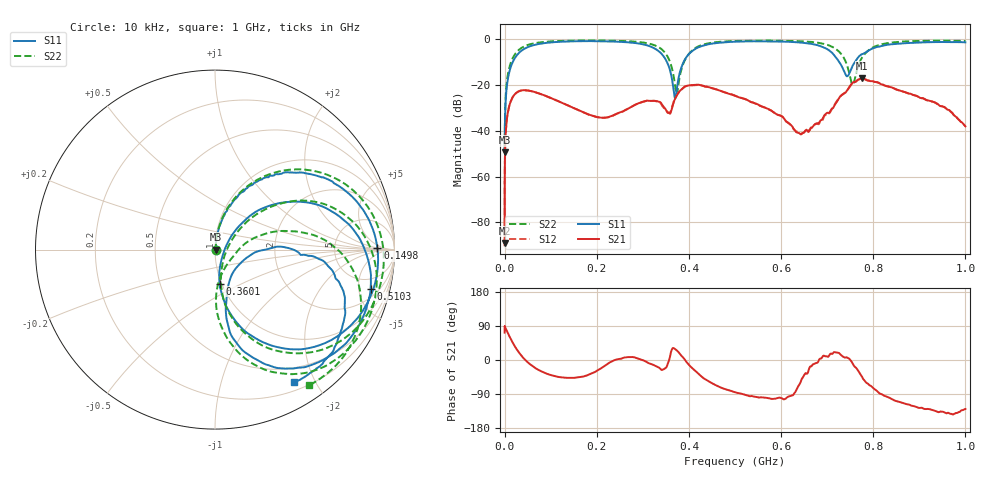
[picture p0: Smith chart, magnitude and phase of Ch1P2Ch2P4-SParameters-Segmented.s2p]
#  HZ  S  DB  R  50.00
! Rohde & Schwarz Vector Network Analyzer
! Rohde-Schwarz,ZNL6-2Port,1323001206101709,1.40.1.1-21.04.2.40
! Created: UTC 3/14/2023, 9:51:05 AM
! freq[Hz]  db:S11  ang:S11  db:S21  ang:S21  db:S12  ang:S12  db:S22  ang:S22
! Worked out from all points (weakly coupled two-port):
!   4997 points, 10 kHz to 1 GHz, reference 50 ohm
!   highest |S21| = -16.98 dB at 776 MHz (marker M1); lowest = -89.0 dB at 10.9 kHz (marker M2)
!   lowest |S11| = -49.3 dB at 10 kHz (marker M3), VSWR 1.01, Z = 50.3 + j0.0451 ohm
!   |S11| at or under -10 dB: start of sweep to 17.42 MHz; 352.6 MHz to 388.2 MHz (35.64 MHz wide, 9.62 % of centre); 726.3 MHz to 760.1 MHz (33.73 MHz wide, 4.54 % of centre)
!   |S22| runs from -48.8 to -0.5 dB; largest |S21 - S12| = 0.0034
!   S11 on the Smith chart (normalised r, x): 10 kHz: 1.01, +0.00; 149.8 MHz: 20, +2; 360.1 MHz: 0.98, -0.39; 510.3 MHz: 3.00, -6.66; 1 GHz: 0.31, -1.72
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10000  -49.28 7.5  -88.48 72.3  -90.34 81.4  -48.82 4.3
10900  -49.14 5.3  -89.00 80.7  -89.65 88.1  -48.74 4.4
101000  -47.69 29.7  -68.91 87.9  -68.32 89.1  -47.01 34.5
1010000  -33.95 77.8  -48.42 86.7  -48.49 86.3  -31.95 79.3
8511802  -15.80 77.4  -30.43 67.3  -30.43 66.8  -13.84 75.5
1.830582e7  -9.62 66.7  -25.01 44.2  -25.00 44.0  -7.91 62.5
6.831784e7  -2.28 27.9  -23.23 -22.5  -23.20 -24.4  -1.59 23.8
1.497957e8  -0.87 0.5  -30.02 -47.2  -30.01 -48.4  -0.55 -0.4
1.668832e8  -0.81 -3.7  -31.48 -44.5  -31.47 -45.7  -0.51 -4.1
3.333815e8  -5.02 -64.1  -27.18 -19.0  -27.25 -21.1  -3.34 -56.8
3.600546e8  -14.35 -82.4  -32.19 16.5  -31.68 17.2  -10.52 -79.9
3.738079e8  -21.54 30.0  -24.50 25.2  -24.37 23.1  -24.10 -11.9
4.090247e8  -4.85 27.4  -19.95 -23.5  -20.05 -24.9  -4.52 27.1
5.000882e8  -1.04 -11.7  -24.66 -85.1  -24.59 -86.1  -0.73 -11.5
5.10299e8  -0.96 -14.3  -25.43 -87.9  -25.41 -89.0  -0.67 -13.9
6.384548e8  -1.34 -46.5  -40.93 -66.9  -40.48 -69.4  -0.80 -41.8
6.667949e8  -2.03 -56.8  -38.51 -15.6  -38.53 -19.3  -1.16 -50.1
7.257675e8  -9.82 -79.2  -25.74 18.3  -25.56 15.5  -5.39 -80.0
7.551495e8  -11.62 -0.8  -18.99 -8.9  -19.02 -10.0  -19.74 -37.0
7.759878e8  -6.45 -3.3  -16.98 -45.0  -16.98 -45.5  -7.88 14.9
8.335017e8  -2.29 -19.9  -20.71 -98.9  -20.63 -100.0  -1.57 -15.1
1e9  -1.32 -59.2  -38.02 -129.3  -38.07 -130.7  -0.73 -55.2
